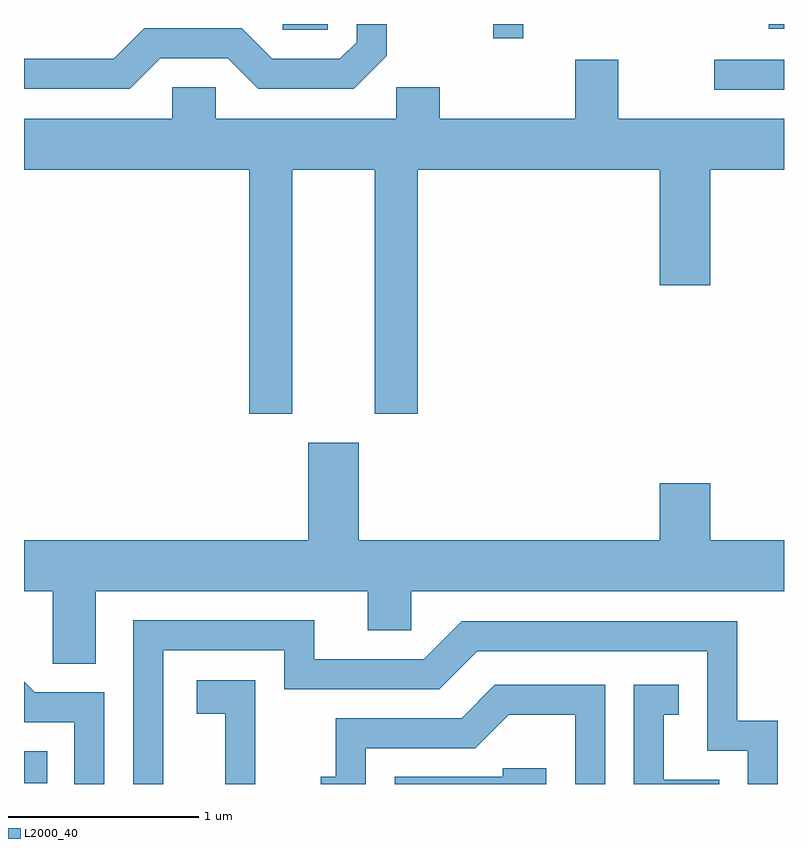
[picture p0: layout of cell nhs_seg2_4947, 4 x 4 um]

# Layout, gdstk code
import gdstk
lib = gdstk.Library(unit=1e-6, precision=1e-09)
def R(c, l, rs):  # rectangles x0, y0, x1, y1
    for r in rs: c.add(gdstk.rectangle(r[:2], r[2:], *l))
def P(c, l, *ps):  # polygons
    for p in ps: c.add(gdstk.Polygon(p, *l))
L2000_40 = (2000, 40)

nhs_seg2_4947 = lib.new_cell('nhs_seg2_4947')
R(nhs_seg2_4947, L2000_40, [(331.611,991.806,331.733,991.974), (335.243,995.456,335.611,995.614), (334.081,995.728,334.239,995.802), (332.973,995.771,333.209,995.802), (335.531,995.776,335.611,995.802)])
P(nhs_seg2_4947, L2000_40, [(332.327,995.621),(332.684,995.621),(332.844,995.461),(333.347,995.461),(333.519,995.634),(333.519,995.802),(333.361,995.802),(333.361,995.707),(333.274,995.619),(332.917,995.619),(332.757,995.779),(332.244,995.779),(332.084,995.619),(331.611,995.619),(331.611,995.461),(332.167,995.461)],
  [(333.024,995.036),(333.456,995.036),(333.456,993.751),(333.684,993.751),(333.684,995.036),(334.956,995.036),(334.956,994.426),(335.224,994.426),(335.224,995.036),(335.611,995.036),(335.611,995.304),(334.739,995.304),(334.739,995.614),(334.511,995.614),(334.511,995.304),(333.799,995.304),(333.799,995.469),(333.571,995.469),(333.571,995.304),(332.619,995.304),(332.619,995.469),(332.391,995.469),(332.391,995.304),(331.611,995.304),(331.611,995.036),(332.796,995.036),(332.796,993.751),(333.024,993.751)],
  [(331.989,992.816),(333.421,992.816),(333.421,992.611),(333.649,992.611),(333.649,992.816),(335.611,992.816),(335.611,993.084),(335.224,993.084),(335.224,993.384),(334.956,993.384),(334.956,993.084),(333.374,993.084),(333.374,993.599),(333.106,993.599),(333.106,993.084),(331.611,993.084),(331.611,992.816),(331.761,992.816),(331.761,992.436),(331.989,992.436)],
  [(332.344,992.506),(332.981,992.506),(332.981,992.301),(333.797,992.301),(333.997,992.501),(335.206,992.501),(335.206,991.976),(335.421,991.976),(335.421,991.802),(335.579,991.802),(335.579,992.134),(335.364,992.134),(335.364,992.659),(333.914,992.659),(333.714,992.459),(333.139,992.459),(333.139,992.664),(332.186,992.664),(332.186,991.802),(332.344,991.802)],
  [(332.829,992.349),(332.521,992.349),(332.521,992.171),(332.671,992.171),(332.671,991.802),(332.829,991.802)],
  [(332.034,992.284),(331.667,992.284),(331.611,992.34),(331.611,992.126),(331.876,992.126),(331.876,991.802),(332.034,991.802)],
  [(333.409,991.991),(333.987,991.991),(334.162,992.166),(334.511,992.166),(334.511,991.802),(334.669,991.802),(334.669,992.324),(334.089,992.324),(333.914,992.149),(333.251,992.149),(333.251,991.839),(333.173,991.839),(333.173,991.802),(333.409,991.802)],
  [(335.269,991.824),(334.979,991.824),(334.979,992.166),(335.058,992.166),(335.058,992.324),(334.821,992.324),(334.821,991.802),(335.269,991.802)],
  [(334.359,991.884),(334.131,991.884),(334.131,991.839),(333.561,991.839),(333.561,991.802),(334.359,991.802)])

lib.write_gds('nhs_seg2_4947.gds')
